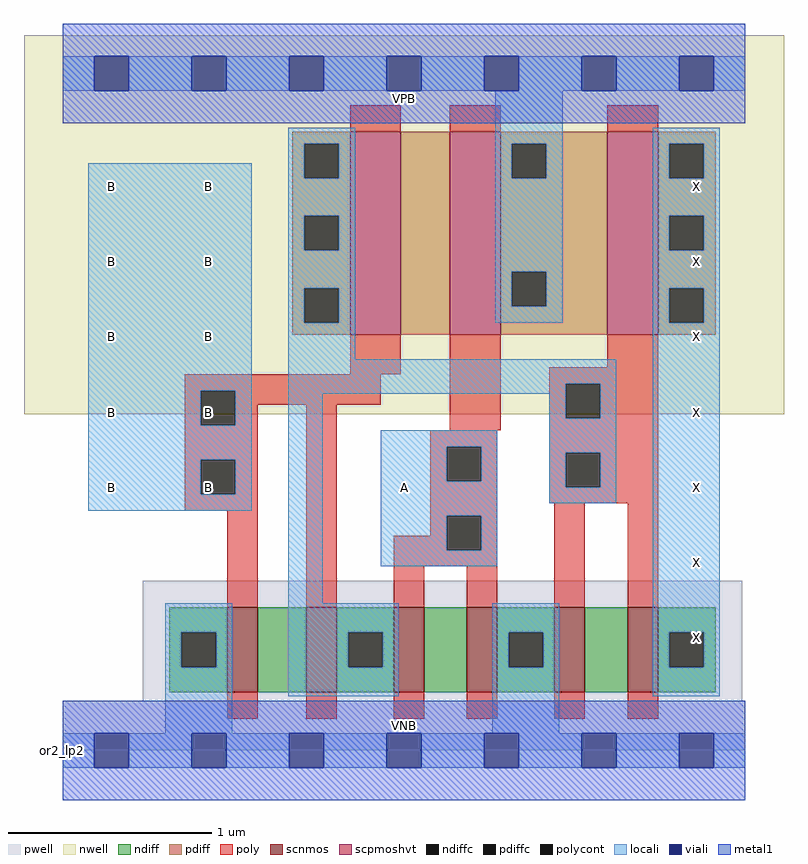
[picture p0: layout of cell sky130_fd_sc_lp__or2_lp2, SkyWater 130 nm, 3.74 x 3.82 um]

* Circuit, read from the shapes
.subckt sky130_fd_sc_lp__or2_lp2 A B VGND VNB VPB VPWR X
XM1 n1 B VGND VNB sky130_fd_pr__nfet_01v8 w=0.42 l=0.15
XM2 n2 B n1 VNB sky130_fd_pr__nfet_01v8 w=0.42 l=0.15
XM3 n3 A n2 VNB sky130_fd_pr__nfet_01v8 w=0.42 l=0.15
XM4 VGND A n3 VNB sky130_fd_pr__nfet_01v8 w=0.42 l=0.15
XM5 n4 n2 VGND VNB sky130_fd_pr__nfet_01v8 w=0.42 l=0.15
XM6 X n2 n4 VNB sky130_fd_pr__nfet_01v8 w=0.42 l=0.15
XM7 n5 B n2 VPB sky130_fd_pr__pfet_01v8_hvt w=1 l=0.25
XM8 VPWR A n5 VPB sky130_fd_pr__pfet_01v8_hvt w=1 l=0.25
XM9 X n2 VPWR VPB sky130_fd_pr__pfet_01v8_hvt w=1 l=0.25
.ends

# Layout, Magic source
magic
tech sky130A
magscale 1 2
<< nwell >>
rect -38 331 710 704
<< pwell >>
rect 79 49 669 167
rect 0 0 672 49
<< scnmos >>
rect 162 57 192 141
rect 240 57 270 141
rect 326 57 356 141
rect 398 57 428 141
rect 484 57 514 141
rect 556 57 586 141
<< scpmoshvt >>
rect 283 409 333 609
rect 381 409 431 609
rect 536 409 586 609
<< ndiff >>
rect 105 116 162 141
rect 105 82 117 116
rect 151 82 162 116
rect 105 57 162 82
rect 192 57 240 141
rect 270 116 326 141
rect 270 82 281 116
rect 315 82 326 116
rect 270 57 326 82
rect 356 57 398 141
rect 428 116 484 141
rect 428 82 439 116
rect 473 82 484 116
rect 428 57 484 82
rect 514 57 556 141
rect 586 116 643 141
rect 586 82 597 116
rect 631 82 643 116
rect 586 57 643 82
<< pdiff >>
rect 226 597 283 609
rect 226 563 238 597
rect 272 563 283 597
rect 226 526 283 563
rect 226 492 238 526
rect 272 492 283 526
rect 226 455 283 492
rect 226 421 238 455
rect 272 421 283 455
rect 226 409 283 421
rect 333 409 381 609
rect 431 597 536 609
rect 431 563 442 597
rect 476 563 536 597
rect 431 471 536 563
rect 431 437 442 471
rect 476 437 536 471
rect 431 409 536 437
rect 586 597 643 609
rect 586 563 597 597
rect 631 563 643 597
rect 586 526 643 563
rect 586 492 597 526
rect 631 492 643 526
rect 586 455 643 492
rect 586 421 597 455
rect 631 421 643 455
rect 586 409 643 421
<< ndiffc >>
rect 117 82 151 116
rect 281 82 315 116
rect 439 82 473 116
rect 597 82 631 116
<< pdiffc >>
rect 238 563 272 597
rect 238 492 272 526
rect 238 421 272 455
rect 442 563 476 597
rect 442 437 476 471
rect 597 563 631 597
rect 597 492 631 526
rect 597 421 631 455
<< poly >>
rect 283 609 333 635
rect 381 609 431 635
rect 536 609 586 635
rect 283 370 333 409
rect 120 354 313 370
rect 120 320 136 354
rect 170 340 313 354
rect 170 320 192 340
rect 120 286 192 320
rect 120 252 136 286
rect 170 252 192 286
rect 120 236 192 252
rect 162 141 192 236
rect 240 141 270 340
rect 381 315 431 409
rect 536 377 586 409
rect 479 361 586 377
rect 479 327 495 361
rect 529 327 586 361
rect 362 299 428 315
rect 362 265 378 299
rect 412 265 428 299
rect 362 231 428 265
rect 479 293 586 327
rect 479 259 495 293
rect 529 259 586 293
rect 479 243 586 259
rect 362 211 378 231
rect 326 197 378 211
rect 412 197 428 231
rect 326 181 428 197
rect 326 141 356 181
rect 398 141 428 181
rect 484 141 514 243
rect 556 141 586 243
rect 162 31 192 57
rect 240 31 270 57
rect 326 31 356 57
rect 398 31 428 57
rect 484 31 514 57
rect 556 31 586 57
<< polycont >>
rect 136 320 170 354
rect 136 252 170 286
rect 495 327 529 361
rect 378 265 412 299
rect 495 259 529 293
rect 378 197 412 231
<< locali >>
rect 0 649 31 683
rect 65 649 127 683
rect 161 649 223 683
rect 257 649 319 683
rect 353 649 415 683
rect 449 649 511 683
rect 545 649 607 683
rect 641 649 672 683
rect 222 597 288 613
rect 25 354 186 578
rect 25 320 136 354
rect 170 320 186 354
rect 25 286 186 320
rect 25 252 136 286
rect 170 252 186 286
rect 25 236 186 252
rect 222 563 238 597
rect 272 563 288 597
rect 222 526 288 563
rect 222 492 238 526
rect 272 492 288 526
rect 222 455 288 492
rect 222 421 238 455
rect 272 421 288 455
rect 426 597 492 649
rect 426 563 442 597
rect 476 563 492 597
rect 426 471 492 563
rect 426 437 442 471
rect 476 437 492 471
rect 426 421 492 437
rect 581 597 647 613
rect 581 563 597 597
rect 631 563 647 597
rect 581 526 647 563
rect 581 492 597 526
rect 631 492 647 526
rect 581 455 647 492
rect 581 421 597 455
rect 631 421 647 455
rect 222 385 288 421
rect 222 361 545 385
rect 222 351 495 361
rect 222 145 256 351
rect 479 327 495 351
rect 529 327 545 361
rect 313 299 428 315
rect 313 265 378 299
rect 412 265 428 299
rect 313 231 428 265
rect 479 293 545 327
rect 479 259 495 293
rect 529 259 545 293
rect 479 243 545 259
rect 313 197 378 231
rect 412 197 428 231
rect 313 181 428 197
rect 101 116 167 145
rect 101 82 117 116
rect 151 82 167 116
rect 101 17 167 82
rect 222 116 331 145
rect 222 82 281 116
rect 315 82 331 116
rect 222 53 331 82
rect 423 116 489 145
rect 423 82 439 116
rect 473 82 489 116
rect 423 17 489 82
rect 581 116 647 421
rect 581 82 597 116
rect 631 82 647 116
rect 581 53 647 82
rect 0 -17 31 17
rect 65 -17 127 17
rect 161 -17 223 17
rect 257 -17 319 17
rect 353 -17 415 17
rect 449 -17 511 17
rect 545 -17 607 17
rect 641 -17 672 17
<< viali >>
rect 31 649 65 683
rect 127 649 161 683
rect 223 649 257 683
rect 319 649 353 683
rect 415 649 449 683
rect 511 649 545 683
rect 607 649 641 683
rect 31 -17 65 17
rect 127 -17 161 17
rect 223 -17 257 17
rect 319 -17 353 17
rect 415 -17 449 17
rect 511 -17 545 17
rect 607 -17 641 17
<< metal1 >>
rect 0 683 672 715
rect 0 649 31 683
rect 65 649 127 683
rect 161 649 223 683
rect 257 649 319 683
rect 353 649 415 683
rect 449 649 511 683
rect 545 649 607 683
rect 641 649 672 683
rect 0 617 672 649
rect 0 17 672 49
rect 0 -17 31 17
rect 65 -17 127 17
rect 161 -17 223 17
rect 257 -17 319 17
rect 353 -17 415 17
rect 449 -17 511 17
rect 545 -17 607 17
rect 641 -17 672 17
rect 0 -49 672 -17
<< labels >>
flabel pwell s 0 0 672 49 0 FreeSans 200 0 0 0 VNB
port 4 nsew ground bidirectional
flabel nwell s 0 617 672 666 0 FreeSans 200 0 0 0 VPB
port 5 nsew power bidirectional
rlabel comment s 0 0 0 0 4 or2_lp2
flabel metal1 s 0 617 672 666 0 FreeSans 340 0 0 0 VPWR
port 6 nsew power bidirectional
flabel metal1 s 0 0 672 49 0 FreeSans 340 0 0 0 VGND
port 3 nsew ground bidirectional
flabel locali s 31 242 65 276 0 FreeSans 340 0 0 0 B
port 2 nsew signal input
flabel locali s 31 316 65 350 0 FreeSans 340 0 0 0 B
port 2 nsew signal input
flabel locali s 31 390 65 424 0 FreeSans 340 0 0 0 B
port 2 nsew signal input
flabel locali s 31 464 65 498 0 FreeSans 340 0 0 0 B
port 2 nsew signal input
flabel locali s 31 538 65 572 0 FreeSans 340 0 0 0 B
port 2 nsew signal input
flabel locali s 127 242 161 276 0 FreeSans 340 0 0 0 B
port 2 nsew signal input
flabel locali s 127 316 161 350 0 FreeSans 340 0 0 0 B
port 2 nsew signal input
flabel locali s 127 390 161 424 0 FreeSans 340 0 0 0 B
port 2 nsew signal input
flabel locali s 127 464 161 498 0 FreeSans 340 0 0 0 B
port 2 nsew signal input
flabel locali s 127 538 161 572 0 FreeSans 340 0 0 0 B
port 2 nsew signal input
flabel locali s 319 242 353 276 0 FreeSans 340 0 0 0 A
port 1 nsew signal input
flabel locali s 607 94 641 128 0 FreeSans 340 0 0 0 X
port 7 nsew signal output
flabel locali s 607 168 641 202 0 FreeSans 340 0 0 0 X
port 7 nsew signal output
flabel locali s 607 242 641 276 0 FreeSans 340 0 0 0 X
port 7 nsew signal output
flabel locali s 607 316 641 350 0 FreeSans 340 0 0 0 X
port 7 nsew signal output
flabel locali s 607 390 641 424 0 FreeSans 340 0 0 0 X
port 7 nsew signal output
flabel locali s 607 464 641 498 0 FreeSans 340 0 0 0 X
port 7 nsew signal output
flabel locali s 607 538 641 572 0 FreeSans 340 0 0 0 X
port 7 nsew signal output
<< properties >>
string LEFsite unit
string LEFclass CORE
string FIXED_BBOX 0 0 672 666
string GDS_FILE $PDKPATH/libs.ref/sky130_fd_sc_lp/gds/sky130_fd_sc_lp.gds
string LEFsymmetry X Y R90
string GDS_END 6155496
string GDS_START 6148686
<< end >>
